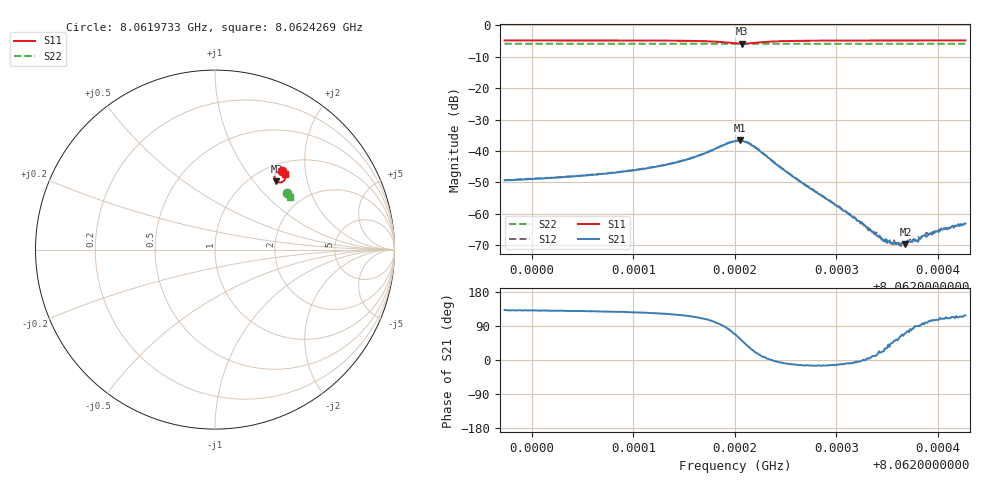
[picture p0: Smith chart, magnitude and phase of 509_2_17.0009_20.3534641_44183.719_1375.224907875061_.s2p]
#  HZ  S  RI  R  50.00
! Rohde & Schwarz Vector Network Analyzer
! Rohde-Schwarz,ZNB20-2Port,1311601062101988,3.16
! Created: UTC 3/20/2024, 11:14:55 PM
! freq[Hz]  re:S11  im:S11  re:S21  im:S21  re:S12  im:S12  re:S22  im:S22
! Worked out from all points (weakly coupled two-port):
!   401 points, 8.0619733 GHz to 8.0624269 GHz, reference 50 ohm
!   highest |S21| = -36.63 dB at 8.0622047 GHz (marker M1); lowest = -69.7 dB at 8.062368 GHz (marker M2)
!   lowest |S11| = -5.8 dB at 8.0622069 GHz (marker M3), VSWR 3.10, Z = 63.8 + j66 ohm
!   |S11| at or under -10 dB: nowhere
!   |S22| runs from -5.9 to -5.8 dB; largest |S21 - S12| = 0.00095
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8.06197335e9  0.3751 0.4372  -0.00227 0.00253  -0.00213 0.0027  0.4027 0.3131
8.06204932e9  0.3813 0.4312  -0.00256 0.00314  -0.00239 0.00329  0.4055 0.3091
8.06209922e9  0.3859 0.4254  -0.00286 0.00394  -0.00267 0.00416  0.4073 0.3065
8.0621253e9  0.3889 0.4205  -0.00313 0.0048  -0.00288 0.005  0.4084 0.305
8.06215931e9  0.3925 0.4084  -0.00322 0.00717  -0.00281 0.00743  0.4094 0.3028
8.06220014e9  0.3595 0.3743  0.00532 0.0133  0.00617 0.013  0.4089 0.2998
8.06220467e9  0.3477 0.3777  0.0081 0.0123  0.00878 0.0119  0.4086 0.2999
8.06220694e9  0.3422 0.3813  0.00902 0.0112  0.00978 0.0108  0.4084 0.3001
8.06221941e9  0.3317 0.4107  0.0108 0.00435  0.0111 0.00372  0.4089 0.3008
8.06225003e9  0.3576 0.4355  0.0047 -0.000762  0.00471 -0.000997  0.4112 0.3
8.06227611e9  0.3697 0.4349  0.00236 -0.000601  0.00234 -0.000748  0.4127 0.2987
8.06232374e9  0.3797 0.431  0.000696 -3.94e-05  0.000736 -8.81e-05  0.4147 0.2961
8.06233281e9  0.3811 0.4303  0.000577 6e-05  0.000568 1.02e-05  0.415 0.2956
8.06233848e9  0.3818 0.4299  0.000477 8.59e-05  0.000475 7.72e-05  0.4153 0.2953
8.06234642e9  0.3828 0.4293  0.000338 0.000139  0.000358 0.000139  0.4155 0.2947
8.06235209e9  0.3835 0.4288  0.000296 0.000203  0.000333 0.00023  0.4159 0.2946
8.06236116e9  0.3844 0.4282  0.000193 0.000286  0.000165 0.000276  0.416 0.2941
8.06236796e9  0.3852 0.4277  0.000109 0.000309  0.000136 0.00033  0.4164 0.2937
8.0623759e9  0.3859 0.4271  4.32e-05 0.000392  6.73e-05 0.000376  0.4166 0.2932
8.06238951e9  0.3872 0.4262  -6.36e-05 0.000443  -3.34e-05 0.000493  0.417 0.2925
8.06240538e9  0.3885 0.425  -0.000189 0.000551  -0.00015 0.000541  0.4175 0.2918
8.06242693e9  0.3903 0.4237  -0.000324 0.000624  -0.000279 0.000659  0.4184 0.2906
